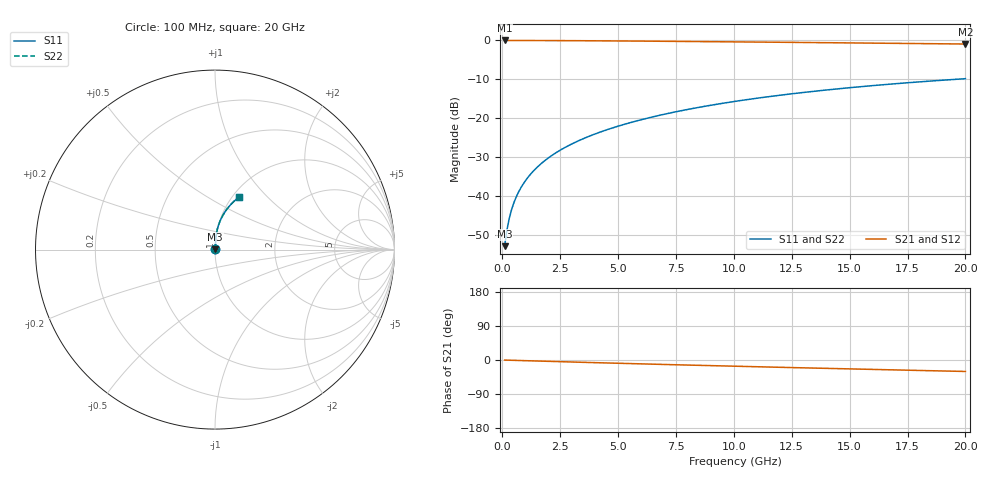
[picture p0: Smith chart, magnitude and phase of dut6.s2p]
! Touchstone file exported from HFSS 2024.1.0
!  File:  C:/UserFiles/LocalFiles/RDL_TSV_Batchsim/temp_RDL_top_6_1778679615.aedt
!  Generated:  09:42:54 PM May 13, 2026
!  Design:  RDL_top
!  Project:  temp_RDL_top_6_1778679615
!  Setup:  Setup1
!  Solution:  Sweep
! Variables:
!  dtsv = 10.80580581um
!  hbump = 3um
!  htsv = 86.11um
!  ldown = 100um
!  lrdl = 379.25um
!  p = 40
!  p1 = 58.86um
!  rhole = 1um
!  t = 450um
!  tdown = 3.915915916um
!  trdl = 4.59um
!  wdown = 15.38538539um
!  wrdl = 21.01um
# GHz S MA R 50.000000
! Terminal data exported
! Port[1] = Box2_T1
! Port[2] = Box2_T2
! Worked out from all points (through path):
!   200 points, 100 MHz to 20 GHz, reference 50 ohm
!   highest |S21| = -0.01 dB at 100 MHz (marker M1); lowest = -0.9 dB at 20 GHz (marker M2)
!   group delay of S21, straight-line fit = 4.16 ps
!   lowest |S11| = -53.0 dB at 100 MHz (marker M3), VSWR 1.00, Z = 50.2 + j0.164 ohm
!   |S11| at or under -10 dB: start of sweep to 19.61 GHz
!   |S22| runs from -53.0 to -9.8 dB; largest |S21 - S12| = 5.2e-15
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0.1  0.002251 46.5  0.9984 -0.2  0.9984 -0.2  0.002251 46.5
! Gamma 0 0 0 0
! Port Impedance 50 0 50 0
0.2  0.003624 63.7  0.9984 -0.4  0.9984 -0.4  0.003624 63.7
0.3  0.00512 70.8  0.9982 -0.5  0.9982 -0.5  0.00512 70.8
0.4  0.006635 74.6  0.9981 -0.7  0.9981 -0.7  0.006634 74.6
0.5  0.008147 77.0  0.998 -0.9  0.998 -0.9  0.008146 77.0
0.7  0.01116 79.8  0.9978 -1.3  0.9978 -1.3  0.01116 79.8
0.8  0.01266 80.8  0.9977 -1.4  0.9977 -1.4  0.01266 80.8
1  0.01567 82.2  0.9974 -1.8  0.9974 -1.8  0.01567 82.2
1.2  0.01869 83.2  0.9971 -2.1  0.9971 -2.1  0.01869 83.2
1.4  0.02173 84.0  0.9968 -2.5  0.9968 -2.5  0.02173 84.0
1.7  0.02631 84.7  0.9962 -3.0  0.9962 -3.0  0.0263 84.7
2  0.03091 85.2  0.9955 -3.6  0.9955 -3.6  0.03091 85.2
2.7  0.04179 85.8  0.9935 -4.8  0.9935 -4.8  0.04179 85.8
3.5  0.05444 86.0  0.9907 -6.1  0.9907 -6.1  0.05444 86.0
4.2  0.06569 85.8  0.9879 -7.3  0.9879 -7.3  0.0657 85.8
5  0.07877 85.3  0.9843 -8.6  0.9843 -8.6  0.07877 85.3
6.8  0.1089 83.8  0.9753 -11.5  0.9753 -11.5  0.1089 83.8
8.4  0.1361 81.9  0.9668 -14.0  0.9668 -14.0  0.1361 81.9
10.1  0.1651 79.6  0.9574 -16.5  0.9574 -16.5  0.1652 79.7
13.4  0.2204 74.9  0.9385 -21.3  0.9385 -21.3  0.2205 74.9
16.7  0.273 70.0  0.9188 -25.8  0.9188 -25.8  0.273 70.1
20  0.3218 65.3  0.8984 -30.2  0.8984 -30.2  0.3218 65.4
